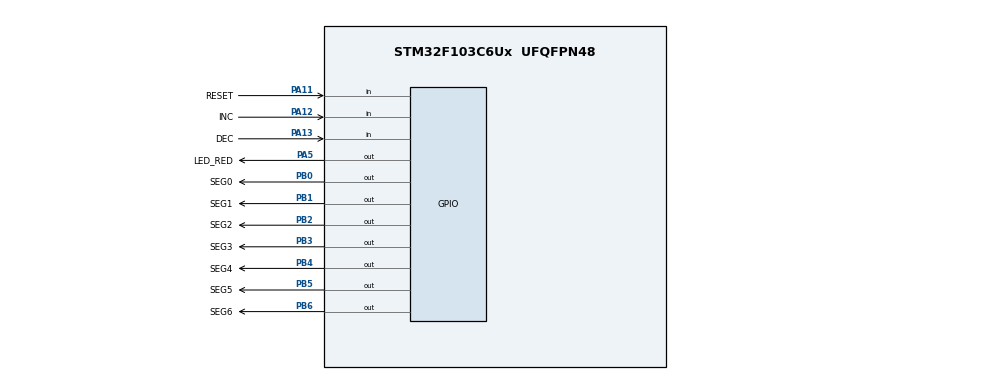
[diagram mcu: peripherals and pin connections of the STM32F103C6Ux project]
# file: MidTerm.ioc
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Mcu.Family=STM32F1
Mcu.Name=STM32F103C6Ux
Mcu.Package=UFQFPN48
NVIC.PriorityGroup=NVIC_PRIORITYGROUP_4
NVIC.TIM2_IRQn=true\:0\:0\:false\:false\:true\:true\:true
PA11.GPIO_Label=RESET
PA11.GPIO_PuPd=GPIO_PULLUP
PA11.Signal=GPIO_Input
PA12.GPIO_Label=INC
PA12.GPIO_PuPd=GPIO_PULLUP
PA12.Signal=GPIO_Input
PA13.GPIO_Label=DEC
PA13.GPIO_PuPd=GPIO_PULLUP
PA13.Signal=GPIO_Input
PA5.GPIO_Label=LED_RED
PA5.Signal=GPIO_Output
PB0.GPIO_Label=SEG0
PB0.Signal=GPIO_Output
PB1.GPIO_Label=SEG1
PB1.Signal=GPIO_Output
PB2.GPIO_Label=SEG2
PB2.Signal=GPIO_Output
PB3.GPIO_Label=SEG3
PB3.Signal=GPIO_Output
PB4.GPIO_Label=SEG4
PB4.Signal=GPIO_Output
PB5.GPIO_Label=SEG5
PB5.Signal=GPIO_Output
PB6.GPIO_Label=SEG6
PB6.Signal=GPIO_Output
ProjectManager.HeapSize=0x200
ProjectManager.StackSize=0x400
ProjectManager.TargetToolchain=STM32CubeIDE
RCC.APB1Freq_Value=8000000
RCC.APB2Freq_Value=8000000
TIM2.Period=9
TIM2.Prescaler=7999
VP_SYS_VS_ND.Mode=No_Debug
VP_TIM2_VS_ClockSourceINT.Mode=Internal
board=custom

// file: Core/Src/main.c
/* USER CODE BEGIN Header */
/**
  ******************************************************************************
  * @file           : main.c
  * @brief          : Main program body
  ******************************************************************************
  * @attention
  *
  * <h2><center>&copy; Copyright (c) 2022 STMicroelectronics.
  * All rights reserved.</center></h2>
  *
  * This software component is licensed by ST under BSD 3-Clause license,
  * the "License"; You may not use this file except in compliance with the
  * License. You may obtain a copy of the License at:
  *                        opensource.org/licenses/BSD-3-Clause
  *
  ******************************************************************************
  */
/* USER CODE END Header */
#include "main.h"

/* USER CODE BEGIN Includes */
#include "timer.h"
#include "input_reading.h"
#include "7SEG_display.h"
#include "simple_run.h"
/* USER CODE END Includes */

TIM_HandleTypeDef htim2;

void SystemClock_Config(void);
static void MX_GPIO_Init(void);
static void MX_TIM2_Init(void);

int main(void)
{

  /* MCU Configuration--------------------------------------------------------*/

  /* Reset of all peripherals, Initializes the Flash interface and the Systick. */
  HAL_Init();

  /* Configure the system clock */
  SystemClock_Config();

  /* Initialize all configured peripherals */
  MX_GPIO_Init();
  MX_TIM2_Init();
  /* USER CODE BEGIN 2 */
  HAL_TIM_Base_Start_IT (& htim2 ) ;
  /* USER CODE END 2 */

  /* Infinite loop */
  /* USER CODE BEGIN WHILE */
  setTimer0(1000);
  display7SEG(0);
  while (1)
  {
    /* USER CODE END WHILE */

    /* USER CODE BEGIN 3 */
	  fsm_simple_button_run();
	  if(timer0_flag==1){
		  timer0_flag=0;
		  HAL_GPIO_TogglePin(LED_RED_GPIO_Port, LED_RED_Pin);
		  setTimer0(1000);
	  }
  }
  /* USER CODE END 3 */
}

void SystemClock_Config(void)
{
  RCC_OscInitTypeDef RCC_OscInitStruct = {0};
  RCC_ClkInitTypeDef RCC_ClkInitStruct = {0};

  /** Initializes the RCC Oscillators according to the specified parameters
  * in the RCC_OscInitTypeDef structure.
  */
  RCC_OscInitStruct.OscillatorType = RCC_OSCILLATORTYPE_HSI;
  RCC_OscInitStruct.HSIState = RCC_HSI_ON;
  RCC_OscInitStruct.HSICalibrationValue = RCC_HSICALIBRATION_DEFAULT;
  RCC_OscInitStruct.PLL.PLLState = RCC_PLL_NONE;
  if (HAL_RCC_OscConfig(&RCC_OscInitStruct) != HAL_OK)
  {
    Error_Handler();
  }
  /** Initializes the CPU, AHB and APB buses clocks
  */
  RCC_ClkInitStruct.ClockType = RCC_CLOCKTYPE_HCLK|RCC_CLOCKTYPE_SYSCLK
                              |RCC_CLOCKTYPE_PCLK1|RCC_CLOCKTYPE_PCLK2;
  RCC_ClkInitStruct.SYSCLKSource = RCC_SYSCLKSOURCE_HSI;
  RCC_ClkInitStruct.AHBCLKDivider = RCC_SYSCLK_DIV1;
  RCC_ClkInitStruct.APB1CLKDivider = RCC_HCLK_DIV1;
  RCC_ClkInitStruct.APB2CLKDivider = RCC_HCLK_DIV1;

  if (HAL_RCC_ClockConfig(&RCC_ClkInitStruct, FLASH_LATENCY_0) != HAL_OK)
  {
    Error_Handler();
  }
}

static void MX_TIM2_Init(void)
{

  TIM_ClockConfigTypeDef sClockSourceConfig = {0};
  TIM_MasterConfigTypeDef sMasterConfig = {0};

  htim2.Instance = TIM2;
  htim2.Init.Prescaler = 7999;
  htim2.Init.CounterMode = TIM_COUNTERMODE_UP;
  htim2.Init.Period = 9;
  htim2.Init.ClockDivision = TIM_CLOCKDIVISION_DIV1;
  htim2.Init.AutoReloadPreload = TIM_AUTORELOAD_PRELOAD_DISABLE;
  if (HAL_TIM_Base_Init(&htim2) != HAL_OK)
  {
    Error_Handler();
  }
  sClockSourceConfig.ClockSource = TIM_CLOCKSOURCE_INTERNAL;
  if (HAL_TIM_ConfigClockSource(&htim2, &sClockSourceConfig) != HAL_OK)
  {
    Error_Handler();
  }
  sMasterConfig.MasterOutputTrigger = TIM_TRGO_RESET;
  sMasterConfig.MasterSlaveMode = TIM_MASTERSLAVEMODE_DISABLE;
  if (HAL_TIMEx_MasterConfigSynchronization(&htim2, &sMasterConfig) != HAL_OK)
  {
    Error_Handler();
  }

}

static void MX_GPIO_Init(void)
{
  GPIO_InitTypeDef GPIO_InitStruct = {0};

  /* GPIO Ports Clock Enable */
  __HAL_RCC_GPIOA_CLK_ENABLE();
  __HAL_RCC_GPIOB_CLK_ENABLE();

  /*Configure GPIO pin Output Level */
  HAL_GPIO_WritePin(LED_RED_GPIO_Port, LED_RED_Pin, GPIO_PIN_RESET);

  /*Configure GPIO pin Output Level */
  HAL_GPIO_WritePin(GPIOB, SEG0_Pin|SEG1_Pin|SEG2_Pin|SEG3_Pin
                          |SEG4_Pin|SEG5_Pin|SEG6_Pin, GPIO_PIN_RESET);

  /*Configure GPIO pin : LED_RED_Pin */
  GPIO_InitStruct.Pin = LED_RED_Pin;
  GPIO_InitStruct.Mode = GPIO_MODE_OUTPUT_PP;
  GPIO_InitStruct.Pull = GPIO_NOPULL;
  GPIO_InitStruct.Speed = GPIO_SPEED_FREQ_LOW;
  HAL_GPIO_Init(LED_RED_GPIO_Port, &GPIO_InitStruct);

  /*Configure GPIO pins : SEG0_Pin SEG1_Pin SEG2_Pin SEG3_Pin
                           SEG4_Pin SEG5_Pin SEG6_Pin */
  GPIO_InitStruct.Pin = SEG0_Pin|SEG1_Pin|SEG2_Pin|SEG3_Pin
                          |SEG4_Pin|SEG5_Pin|SEG6_Pin;
  GPIO_InitStruct.Mode = GPIO_MODE_OUTPUT_PP;
  GPIO_InitStruct.Pull = GPIO_NOPULL;
  GPIO_InitStruct.Speed = GPIO_SPEED_FREQ_LOW;
  HAL_GPIO_Init(GPIOB, &GPIO_InitStruct);

  /*Configure GPIO pins : RESET_Pin INC_Pin DEC_Pin */
  GPIO_InitStruct.Pin = RESET_Pin|INC_Pin|DEC_Pin;
  GPIO_InitStruct.Mode = GPIO_MODE_INPUT;
  GPIO_InitStruct.Pull = GPIO_PULLUP;
  HAL_GPIO_Init(GPIOA, &GPIO_InitStruct);

}

/* USER CODE BEGIN 4 */
void HAL_TIM_PeriodElapsedCallback ( TIM_HandleTypeDef * htim ){
	timer_run();
	button_reading();
}
/* USER CODE END 4 */

void Error_Handler(void)
{
  __disable_irq();
  while (1)
  {
  }
}

/************************ (C) COPYRIGHT STMicroelectronics *****END OF FILE****/
